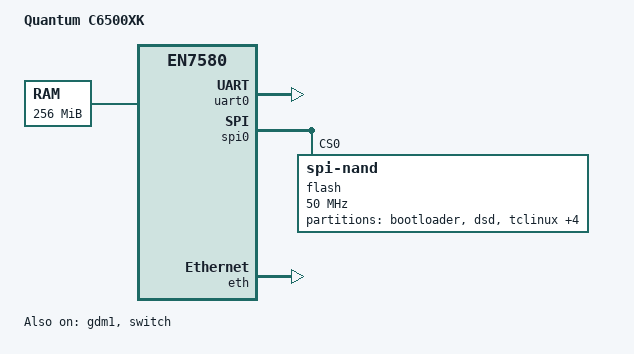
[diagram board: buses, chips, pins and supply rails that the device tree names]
// SPDX-License-Identifier: GPL-2.0+
/dts-v1/;

#include "econet,en7580.dtsi"

/ {
	model = "Quantum C6500XK";
	compatible = "quantum,c6500xk", "econet,en7580", "airoha,en7580";

	/* The RAM-training stage replaces this size during U-Boot startup. */
	memory@0 {
		device_type = "memory";
		reg = <0x00000000 0x10000000>;
	};

	chosen {
		stdout-path = "serial0:115200n8";
	};
};

&uart0 {
	status = "okay";
};

/*
[    3.222338] 0x000000000000-0x000000200000 : "bootloader"
[    3.242515] 0x000000200000-0x000000400000 : "dsd"
[    3.348448] 0x000000400000-0x000004400000 : "tclinux"
[    3.462141] 0x000004400000-0x000008400000 : "tclinux_slave"
[    3.481968] 0x000008400000-0x00001c400000 : "system"
[    3.500182] 0x00001c400000-0x00001c600000 : "uenv"
[    3.517237] 0x00001d5c0000-0x00001d740000 : "art"
*/
&spi0 {
	status = "okay";

	flash@0 {
		compatible = "spi-nand";
		reg = <0>;
		spi-max-frequency = <50000000>;
		spi-tx-bus-width = <1>;
		spi-rx-bus-width = <2>;

		partitions {
			compatible = "fixed-partitions";
			#address-cells = <1>;
			#size-cells = <1>;

			partition@0 {
				label = "bootloader";
				reg = <0x00000000 0x00200000>;
				read-only;
			};

			partition@200000 {
				label = "dsd";
				reg = <0x00200000 0x00200000>;
				read-only;

				nvmem-layout {
					compatible = "fixed-layout";
					#address-cells = <1>;
					#size-cells = <1>;

					ble_mac: mac-address@6c {
						compatible = "mac-base";
						reg = <0x006c 0x11>;
						#nvmem-cell-cells = <1>;
					};

					clei_code: clei-code@88 {
						reg = <0x0088 0x0a>;
					};

					gpon_serial: gpon-serial-number@98 {
						reg = <0x0098 0x0c>;
					};

					lan_mac: mac-address@ad {
						compatible = "mac-base";
						reg = <0x00ad 0x11>;
						#nvmem-cell-cells = <1>;
					};

					manufacturer: manufacturer@cc {
						reg = <0x00cc 0x06>;
					};

					hw_serial: serial-number@e1 {
						reg = <0x00e1 0x11>;
					};

					/* Stored as ASCII: "4C:BA:7D:58:54:F2". */
					wan_mac: mac-address@fb {
						compatible = "mac-base";
						reg = <0x00fb 0x11>;
						#nvmem-cell-cells = <1>;
					};

					/* Vendor BLE provisioning value, stored as 32 ASCII hex digits. */
					ble_random: ble-random@116 {
						reg = <0x0116 0x20>;
					};
				};
			};

			partition@400000 {
				label = "tclinux";
				reg = <0x00400000 0x04000000>;
			};

			partition@4400000 {
				label = "tclinux_slave";
				reg = <0x04400000 0x04000000>;
			};

			partition@8400000 {
				label = "system";
				reg = <0x08400000 0x14000000>;
			};

			partition@1c400000 {
				label = "uenv";
				reg = <0x1c400000 0x00200000>;
			};

			partition@1d5c0000 {
				label = "art";
				reg = <0x1d5c0000 0x00180000>;
				read-only;

				nvmem-layout {
					compatible = "fixed-layout";
					#address-cells = <1>;
					#size-cells = <1>;

					/* Vendor EN7572 BOB calibration block, 160 bytes. */
					en7573_bob: calibration@60160 {
						reg = <0x060160 0x00a0>;
					};
				};
			};
		};
	};
};

&eth {
	status = "okay";
};

&gdm1 {
	status = "okay";
};

&switch {
	status = "okay";
};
